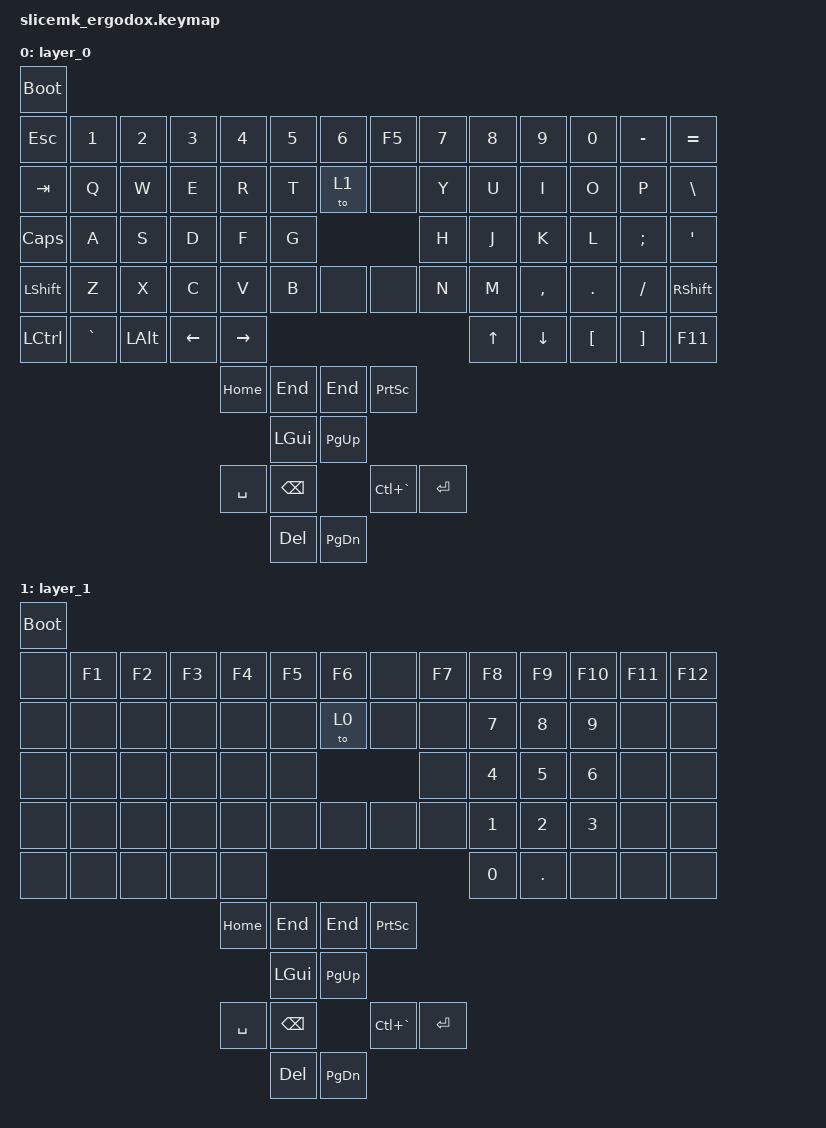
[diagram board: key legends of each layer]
#include <behaviors.dtsi>
#include <dt-bindings/zmk/bt.h>
#include <dt-bindings/zmk/keys.h>
#include <dt-bindings/zmk/outputs.h>
#define DEFAULT 0
#define KEYPAD  1

/ {      
        keymap {
                compatible = "zmk,keymap";
                
                layer_0 {
                        bindings = <
    &bootloader
    &kp ESC    &kp NUMBER_1 &kp NUMBER_2 &kp NUMBER_3 &kp NUMBER_4 &kp NUMBER_5  &kp NUMBER_6 &kp F5        &kp NUMBER_7    &kp NUMBER_8 &kp NUMBER_9 &kp NUMBER_0     &kp MINUS         &kp EQUAL
    &kp TAB    &kp Q        &kp W        &kp E        &kp R        &kp T         &to 1        &none         &kp Y           &kp U        &kp I        &kp O            &kp P             &kp BSLH
    &kp CAPS   &kp A        &kp S        &kp D        &kp F        &kp G                                    &kp H           &kp J        &kp K        &kp L            &kp SEMICOLON     &kp SINGLE_QUOTE
    &kp LEFT_SHIFT &kp Z    &kp X        &kp C        &kp V        &kp B         &none        &none         &kp N           &kp M        &kp COMMA     &kp DOT          &kp FSLH          &kp RIGHT_SHIFT
    &kp LCTRL   &kp GRAVE    &kp LALT     &kp LEFT_ARROW     &kp RIGHT_ARROW                                &kp UP_ARROW     &kp DOWN_ARROW     &kp LEFT_BRACKET &kp RIGHT_BRACKET &kp F11
                                                           &kp HOME      &kp END      &kp END       &kp PRINTSCREEN
                                                                         &kp LEFT_GUI &kp PAGE_UP
                                                &kp SPC      &kp BACKSPACE                     &kp LC(GRAVE)   &kp ENTER
                                                                         &kp DELETE   &kp PAGE_DOWN
                        >;
                };

                layer_1 {
                        bindings = <
    &bootloader
    &none &kp F1 &kp F2 &kp F3 &kp F4    &kp F5        &kp F6       &none         &kp F7          &kp F8    &kp F9     &kp F10 &kp F11 &kp F12
    &none &none  &none  &none  &none     &none         &to 0        &none         &none           &kp 7     &kp 8      &kp 9   &none   &none
    &none &none  &none  &none  &none     &none                                    &none           &kp 4     &kp 5      &kp 6   &none   &none
    &none &none  &none  &none  &none     &none         &none        &none         &none           &kp 1     &kp 2      &kp 3   &none   &none
    &none &none  &none  &none  &none                                                              &kp 0     &kp PERIOD &none   &none   &none
                                                           &kp HOME      &kp END      &kp END       &kp PRINTSCREEN
                                                                         &kp LEFT_GUI &kp PAGE_UP
                                                &kp SPC      &kp BACKSPACE                     &kp LC(GRAVE)   &kp ENTER
                                                                         &kp DELETE   &kp PAGE_DOWN
                        >;
                };
        };
};
